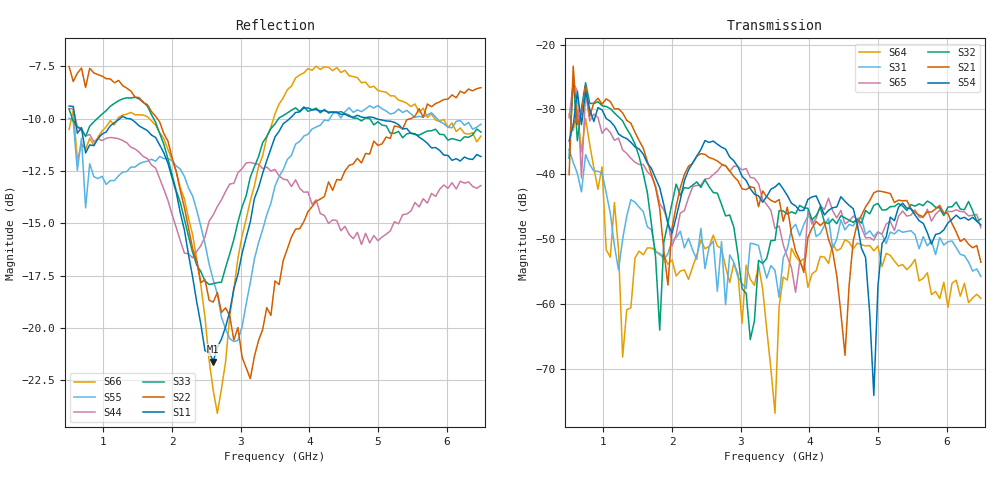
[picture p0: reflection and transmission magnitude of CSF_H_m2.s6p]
!Keysight Technologies,M9804A,MY58100912,A.14.10.03
!Date: Thursday, April 27, 2023 10:28:33
!Correction: S11(C  6-Port  )
!S12(C  6-Port  )
!S13(C  6-Port  )
!S14(C  6-Port  )
!S15(C  6-Port  )
!S16(C  6-Port  )
!S21(C  6-Port  )
!S22(C  6-Port  )
!S23(C  6-Port  )
!S24(C  6-Port  )
!S25(C  6-Port  )
!S26(C  6-Port  )
!S31(C  6-Port  )
!S32(C  6-Port  )
!S33(C  6-Port  )
!S34(C  6-Port  )
!S35(C  6-Port  )
!S36(C  6-Port  )
!S41(C  6-Port  )
!S42(C  6-Port  )
!S43(C  6-Port  )
!S44(C  6-Port  )
!S45(C  6-Port  )
!S46(C  6-Port  )
!S51(C  6-Port  )
!S52(C  6-Port  )
!S53(C  6-Port  )
!S54(C  6-Port  )
!S55(C  6-Port  )
!S56(C  6-Port  )
!S61(C  6-Port  )
!S62(C  6-Port  )
!S63(C  6-Port  )
!S64(C  6-Port  )
!S65(C  6-Port  )
!S66(C  6-Port  )
!S6P File: Measurement: :
# Hz S  RI  R 50
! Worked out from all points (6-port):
!   101 points, 500 MHz to 6.5 GHz, reference 50 ohm
!   strongest paths, dB at 500 MHz, 2 GHz, 3.5 GHz, 5 GHz, 6.5 GHz:
!     S54: -34.9, -49.1, -42.0, -57.3, -47.8
!     S21: -40.1, -48.3, -44.3, -42.6, -53.6
!     S32: -37.6, -44.4, -50.2, -44.5, -46.9
!     S65: -31.3, -51.1, -48.4, -49.0, -48.3
!     S31: -36.2, -50.2, -54.8, -48.9, -55.8
!     S64: -30.7, -53.2, -76.9, -51.1, -59.2
!   lowest |S11| = -21.6 dB at 2.6 GHz (marker M1), VSWR 1.18, Z = 42.6 + j2.04 ohm
!   |S11| at or under -10 dB: 587.2 MHz to 1.241 GHz (653.4 MHz wide, 71.5 % of centre); 1.359 GHz to 3.715 GHz (2.356 GHz wide, 92.9 % of centre); 4.974 GHz to end of sweep
